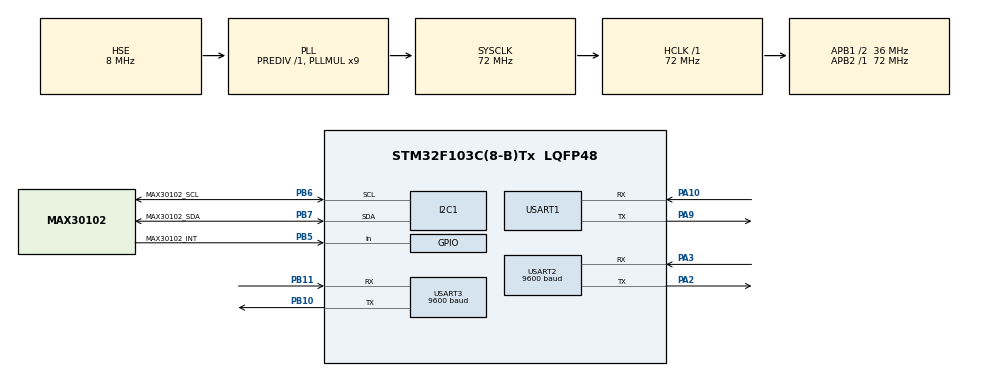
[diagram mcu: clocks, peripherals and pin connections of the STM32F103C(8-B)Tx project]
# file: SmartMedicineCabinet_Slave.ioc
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Mcu.Family=STM32F1
Mcu.Name=STM32F103C(8-B)Tx
Mcu.Package=LQFP48
NVIC.PriorityGroup=NVIC_PRIORITYGROUP_4
NVIC.USART1_IRQn=true\:0\:0\:false\:false\:true\:true\:true\:true
NVIC.USART2_IRQn=true\:0\:0\:false\:false\:true\:true\:true\:true
NVIC.USART3_IRQn=true\:0\:0\:false\:false\:true\:true\:true\:true
PA10.Mode=Asynchronous
PA10.Signal=USART1_RX
PA13.Mode=Serial_Wire
PA13.Signal=SYS_JTMS-SWDIO
PA14.Mode=Serial_Wire
PA14.Signal=SYS_JTCK-SWCLK
PA2.Mode=Asynchronous
PA2.Signal=USART2_TX
PA3.Mode=Asynchronous
PA3.Signal=USART2_RX
PA9.Mode=Asynchronous
PA9.Signal=USART1_TX
PB10.Mode=Asynchronous
PB10.Signal=USART3_TX
PB11.Mode=Asynchronous
PB11.Signal=USART3_RX
PB5.GPIO_Label=MAX30102_INT
PB5.GPIO_PuPd=GPIO_PULLUP
PB5.Signal=GPIO_Input
PB6.GPIO_Label=MAX30102_SCL
PB6.Mode=I2C
PB6.Signal=I2C1_SCL
PB7.GPIO_Label=MAX30102_SDA
PB7.Mode=I2C
PB7.Signal=I2C1_SDA
PD0-OSC_IN.Mode=HSE-External-Oscillator
PD0-OSC_IN.Signal=RCC_OSC_IN
PD1-OSC_OUT.Mode=HSE-External-Oscillator
PD1-OSC_OUT.Signal=RCC_OSC_OUT
ProjectManager.HeapSize=0x200
ProjectManager.StackSize=0x400
ProjectManager.TargetToolchain=MDK-ARM V5.32
RCC.AHBFreq_Value=72000000
RCC.APB1CLKDivider=RCC_HCLK_DIV2
RCC.APB1Freq_Value=36000000
RCC.APB1TimFreq_Value=72000000
RCC.APB2Freq_Value=72000000
RCC.APB2TimFreq_Value=72000000
RCC.HCLKFreq_Value=72000000
RCC.PLLMUL=RCC_PLL_MUL9
RCC.PLLSourceVirtual=RCC_PLLSOURCE_HSE
RCC.SYSCLKFreq_VALUE=72000000
RCC.SYSCLKSource=RCC_SYSCLKSOURCE_PLLCLK
RCC.USBFreq_Value=72000000
USART1.VirtualMode=VM_ASYNC
USART2.BaudRate=9600
USART2.VirtualMode=VM_ASYNC
USART3.BaudRate=9600
USART3.VirtualMode=VM_ASYNC
board=custom

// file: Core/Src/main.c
/* USER CODE BEGIN Header */
/**
  ******************************************************************************
  * @file           : main.c
  * @brief          : Main program body
  ******************************************************************************
  * @attention
  *
  * Copyright (c) 2026 STMicroelectronics.
  * All rights reserved.
  *
  * This software is licensed under terms that can be found in the LICENSE file
  * in the root directory of this software component.
  * If no LICENSE file comes with this software, it is provided AS-IS.
  *
  ******************************************************************************
  */
/* USER CODE END Header */
#include "main.h"
#include "i2c.h"
#include "usart.h"
#include "gpio.h"

/* USER CODE BEGIN Includes */
#include "slave_scheduler.h"
#include "bsp_uart_asr.h"
#include "bsp_uart_tts.h"
#include "bsp_uart_host.h"
/* USER CODE END Includes */

void SystemClock_Config(void);

int main(void)
{

  /* MCU Configuration--------------------------------------------------------*/

  /* Reset of all peripherals, Initializes the Flash interface and the Systick. */
  HAL_Init();

  /* Configure the system clock */
  SystemClock_Config();

  /* Initialize all configured peripherals */
  MX_GPIO_Init();
  MX_I2C1_Init();
  MX_USART1_UART_Init();
  MX_USART2_UART_Init();
  MX_USART3_UART_Init();
  /* USER CODE BEGIN 2 */
	Slave_Scheduler_Init();
  /* USER CODE END 2 */

  /* Infinite loop */
  while (1)
  {

    /* USER CODE BEGIN 3 */
		Slave_Scheduler_Run();
  }
  /* USER CODE END 3 */
}

void SystemClock_Config(void)
{
  RCC_OscInitTypeDef RCC_OscInitStruct = {0};
  RCC_ClkInitTypeDef RCC_ClkInitStruct = {0};

  /** Initializes the RCC Oscillators according to the specified parameters
  * in the RCC_OscInitTypeDef structure.
  */
  RCC_OscInitStruct.OscillatorType = RCC_OSCILLATORTYPE_HSE;
  RCC_OscInitStruct.HSEState = RCC_HSE_ON;
  RCC_OscInitStruct.HSEPredivValue = RCC_HSE_PREDIV_DIV1;
  RCC_OscInitStruct.HSIState = RCC_HSI_ON;
  RCC_OscInitStruct.PLL.PLLState = RCC_PLL_ON;
  RCC_OscInitStruct.PLL.PLLSource = RCC_PLLSOURCE_HSE;
  RCC_OscInitStruct.PLL.PLLMUL = RCC_PLL_MUL9;
  if (HAL_RCC_OscConfig(&RCC_OscInitStruct) != HAL_OK)
  {
    Error_Handler();
  }

  /** Initializes the CPU, AHB and APB buses clocks
  */
  RCC_ClkInitStruct.ClockType = RCC_CLOCKTYPE_HCLK|RCC_CLOCKTYPE_SYSCLK
                              |RCC_CLOCKTYPE_PCLK1|RCC_CLOCKTYPE_PCLK2;
  RCC_ClkInitStruct.SYSCLKSource = RCC_SYSCLKSOURCE_PLLCLK;
  RCC_ClkInitStruct.AHBCLKDivider = RCC_SYSCLK_DIV1;
  RCC_ClkInitStruct.APB1CLKDivider = RCC_HCLK_DIV2;
  RCC_ClkInitStruct.APB2CLKDivider = RCC_HCLK_DIV1;

  if (HAL_RCC_ClockConfig(&RCC_ClkInitStruct, FLASH_LATENCY_2) != HAL_OK)
  {
    Error_Handler();
  }
}

/* USER CODE BEGIN 4 */
void HAL_UART_RxCpltCallback(UART_HandleTypeDef *huart)
{
	if (huart == &huart1)
	{
			uint8_t b = host_rx_byte;
			if (b == 0x0D)
			{
					host_rx_buf[host_rx_idx] = b;
					host_rx_len = host_rx_idx + 1;
					host_rx_flag = 1;
					host_rx_idx = 0;
			}
			else if (host_rx_idx < HOST_RX_BUF - 1)
			{
					host_rx_buf[host_rx_idx++] = b;
			}
			else { host_rx_idx = 0; }
			HAL_UART_Receive_IT(&huart1, &host_rx_byte, 1);
	}
	else if (huart == &huart2){
		uint8_t byte = tts_rx_byte;
		tts_last_byte = byte;
		tts_new_byte  = 1;

		if (byte == '\n' || tts_rx_idx >= TTS_RX_BUF_SIZE - 1)
		{
				tts_rx_buf[tts_rx_idx] = '\0';
				tts_rx_len = tts_rx_idx;
				tts_rx_flag = 1;
				tts_rx_idx = 0;
		}
		else
		{
				tts_rx_buf[tts_rx_idx++] = byte;
		}
		HAL_UART_Receive_IT(&huart2, &tts_rx_byte, 1);
	}

	else if (huart == &huart3)
	{
		uint8_t b = asr_rx_byte;
		if (b == '\n')
		{
				asr_rx_buf[asr_rx_idx] = '\0';
				asr_rx_len = asr_rx_idx;
				asr_rx_flag = 1;
				asr_rx_idx = 0;
		}
		else if (asr_rx_idx < ASR_RX_BUF_SIZE - 1)
		{
			asr_rx_buf[asr_rx_idx++] = b;
		}
		else { asr_rx_idx = 0; }
		HAL_UART_Receive_IT(&huart3, &asr_rx_byte, 1);
	}
}
/* USER CODE END 4 */

void Error_Handler(void)
{
  __disable_irq();
  while (1)
  {
  }
}
